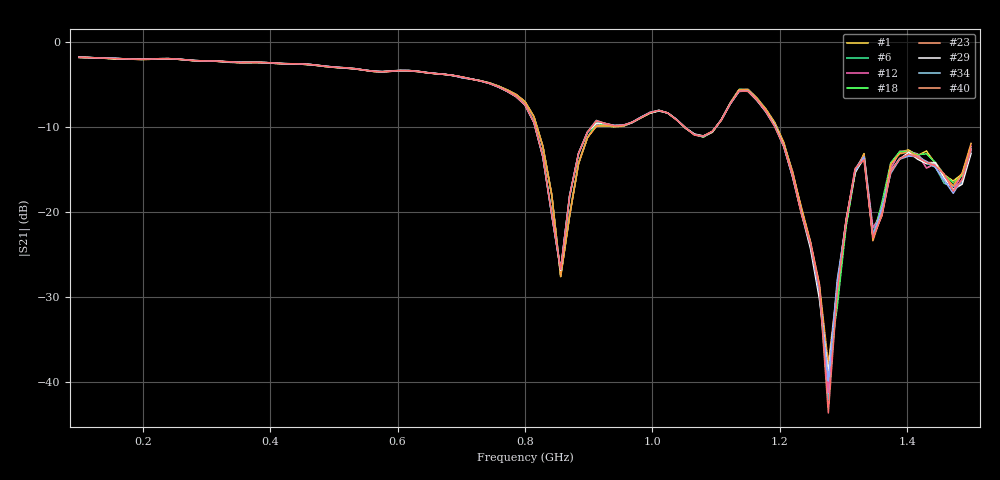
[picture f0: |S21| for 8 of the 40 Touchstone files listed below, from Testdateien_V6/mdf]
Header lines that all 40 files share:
! NanoVNA-App
! Start: 100MHz Stop: 1,5GHz Points: 101
! S-Parameter data: F S11 S21 S12 S22
# Hz S RI R 50
!  Frequency  S11_Real  S11_Imag  S21_Real  S21_Imag  S12_Real  S12_Imag  S22_Real  S22_Imag
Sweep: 100 MHz to 1.5 GHz
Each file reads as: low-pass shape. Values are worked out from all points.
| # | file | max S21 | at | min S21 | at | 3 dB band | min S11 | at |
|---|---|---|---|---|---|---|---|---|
| 1 | mdf (1).s2p | -1.80 dB | 100 MHz | -39.2 dB | 1.276 GHz | 100 MHz-730 MHz | -39.1 dB | 128 MHz |
| 2 | mdf (96).s2p | -1.79 dB | 100 MHz | -36.3 dB | 1.276 GHz | 100 MHz-730 MHz | -39.2 dB | 128 MHz |
| 3 | mdf (97).s2p | -1.79 dB | 100 MHz | -42.0 dB | 1.276 GHz | 100 MHz-730 MHz | -39.2 dB | 128 MHz |
| 4 | mdf (98).s2p | -1.79 dB | 100 MHz | -45.5 dB | 1.276 GHz | 100 MHz-730 MHz | -39.2 dB | 128 MHz |
| 5 | mdf (99).s2p | -1.79 dB | 100 MHz | -39.7 dB | 1.276 GHz | 100 MHz-730 MHz | -39.2 dB | 128 MHz |
| 6 | mdf (100).s2p | -1.79 dB | 100 MHz | -42.1 dB | 1.276 GHz | 100 MHz-730 MHz | -39.2 dB | 128 MHz |
| 7 | mdf (101).s2p | -1.80 dB | 100 MHz | -41.9 dB | 1.276 GHz | 100 MHz-730 MHz | -39.1 dB | 128 MHz |
| 8 | mdf (102).s2p | -1.80 dB | 100 MHz | -43.4 dB | 1.276 GHz | 100 MHz-730 MHz | -39.2 dB | 128 MHz |
| 9 | mdf (103).s2p | -1.80 dB | 100 MHz | -41.9 dB | 1.276 GHz | 100 MHz-730 MHz | -39.1 dB | 128 MHz |
| 10 | mdf (104).s2p | -1.80 dB | 100 MHz | -43.0 dB | 1.276 GHz | 100 MHz-730 MHz | -39.1 dB | 128 MHz |
| 11 | mdf (105).s2p | -1.80 dB | 100 MHz | -42.7 dB | 1.276 GHz | 100 MHz-730 MHz | -39.1 dB | 128 MHz |
| 12 | mdf (106).s2p | -1.80 dB | 100 MHz | -41.3 dB | 1.276 GHz | 100 MHz-730 MHz | -39.1 dB | 128 MHz |
| 13 | mdf (107).s2p | -1.80 dB | 100 MHz | -40.7 dB | 1.276 GHz | 100 MHz-730 MHz | -39.2 dB | 128 MHz |
| 14 | mdf (108).s2p | -1.80 dB | 100 MHz | -39.7 dB | 1.276 GHz | 100 MHz-730 MHz | -39.2 dB | 128 MHz |
| 15 | mdf (109).s2p | -1.80 dB | 100 MHz | -45.2 dB | 1.276 GHz | 100 MHz-730 MHz | -39.1 dB | 128 MHz |
| 16 | mdf (110).s2p | -1.80 dB | 100 MHz | -39.9 dB | 1.276 GHz | 100 MHz-730 MHz | -39.2 dB | 128 MHz |
| 17 | mdf (111).s2p | -1.80 dB | 100 MHz | -45.3 dB | 1.276 GHz | 100 MHz-744 MHz | -39.2 dB | 128 MHz |
| 18 | mdf (112).s2p | -1.80 dB | 100 MHz | -38.7 dB | 1.276 GHz | 100 MHz-730 MHz | -39.2 dB | 128 MHz |
| 19 | mdf (113).s2p | -1.80 dB | 100 MHz | -43.5 dB | 1.276 GHz | 100 MHz-730 MHz | -39.2 dB | 128 MHz |
| 20 | mdf (114).s2p | -1.80 dB | 100 MHz | -40.3 dB | 1.276 GHz | 100 MHz-744 MHz | -39.2 dB | 128 MHz |
| 21 | mdf (115).s2p | -1.80 dB | 100 MHz | -44.2 dB | 1.276 GHz | 100 MHz-730 MHz | -39.2 dB | 128 MHz |
| 22 | mdf (116).s2p | -1.80 dB | 100 MHz | -41.5 dB | 1.276 GHz | 100 MHz-730 MHz | -39.2 dB | 128 MHz |
| 23 | mdf (117).s2p | -1.80 dB | 100 MHz | -37.9 dB | 1.276 GHz | 100 MHz-730 MHz | -39.2 dB | 128 MHz |
| 24 | mdf (118).s2p | -1.80 dB | 100 MHz | -53.6 dB | 1.276 GHz | 100 MHz-730 MHz | -39.1 dB | 128 MHz |
| 25 | mdf (119).s2p | -1.80 dB | 100 MHz | -43.7 dB | 1.276 GHz | 100 MHz-744 MHz | -39.2 dB | 128 MHz |
| 26 | mdf (120).s2p | -1.80 dB | 100 MHz | -46.2 dB | 1.276 GHz | 100 MHz-730 MHz | -39.2 dB | 128 MHz |
| 27 | mdf (121).s2p | -1.80 dB | 100 MHz | -37.4 dB | 1.276 GHz | 100 MHz-730 MHz | -39.1 dB | 128 MHz |
| 28 | mdf (122).s2p | -1.79 dB | 100 MHz | -42.4 dB | 1.276 GHz | 100 MHz-730 MHz | -39.2 dB | 128 MHz |
| 29 | mdf (123).s2p | -1.79 dB | 100 MHz | -38.9 dB | 1.276 GHz | 100 MHz-730 MHz | -39.2 dB | 128 MHz |
| 30 | mdf (124).s2p | -1.79 dB | 100 MHz | -41.5 dB | 1.276 GHz | 100 MHz-730 MHz | -39.2 dB | 128 MHz |
| 31 | mdf (125).s2p | -1.79 dB | 100 MHz | -45.8 dB | 1.276 GHz | 100 MHz-730 MHz | -39.2 dB | 128 MHz |
| 32 | mdf (126).s2p | -1.79 dB | 100 MHz | -40.2 dB | 1.276 GHz | 100 MHz-730 MHz | -39.2 dB | 128 MHz |
| 33 | mdf (127).s2p | -1.79 dB | 100 MHz | -42.6 dB | 1.276 GHz | 100 MHz-730 MHz | -39.2 dB | 128 MHz |
| 34 | mdf (128).s2p | -1.79 dB | 100 MHz | -39.9 dB | 1.276 GHz | 100 MHz-730 MHz | -39.2 dB | 128 MHz |
| 35 | mdf (129).s2p | -1.79 dB | 100 MHz | -40.1 dB | 1.276 GHz | 100 MHz-730 MHz | -39.2 dB | 128 MHz |
| 36 | mdf (130).s2p | -1.79 dB | 100 MHz | -62.0 dB | 1.276 GHz | 100 MHz-730 MHz | -39.2 dB | 128 MHz |
| 37 | mdf (131).s2p | -1.79 dB | 100 MHz | -38.6 dB | 1.276 GHz | 100 MHz-730 MHz | -39.2 dB | 128 MHz |
| 38 | mdf (132).s2p | -1.79 dB | 100 MHz | -41.8 dB | 1.276 GHz | 100 MHz-730 MHz | -39.2 dB | 128 MHz |
| 39 | mdf (133).s2p | -1.79 dB | 100 MHz | -43.5 dB | 1.276 GHz | 100 MHz-730 MHz | -39.2 dB | 128 MHz |
| 40 | mdf (134).s2p | -1.79 dB | 100 MHz | -43.6 dB | 1.276 GHz | 100 MHz-730 MHz | -39.2 dB | 128 MHz |
